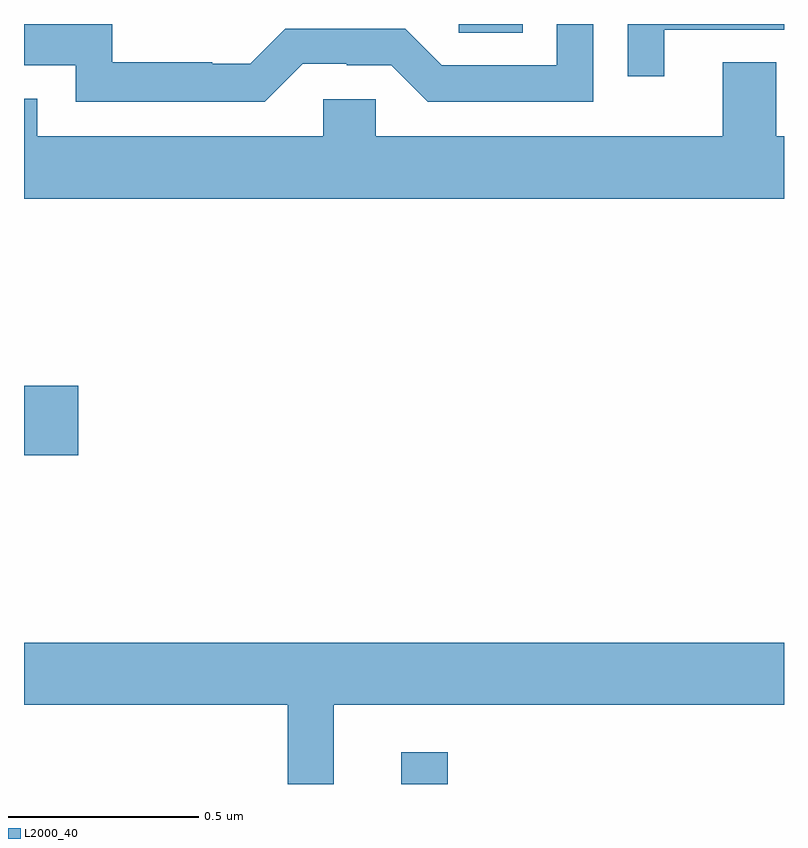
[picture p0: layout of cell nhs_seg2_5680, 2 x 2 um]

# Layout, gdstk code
import gdstk
lib = gdstk.Library(unit=1e-6, precision=1e-09)
def R(c, l, rs):  # rectangles x0, y0, x1, y1
    for r in rs: c.add(gdstk.rectangle(r[:2], r[2:], *l))
def P(c, l, *ps):  # polygons
    for p in ps: c.add(gdstk.Polygon(p, *l))
L2000_40 = (2000, 40)

nhs_seg2_5680 = lib.new_cell('nhs_seg2_5680')
R(nhs_seg2_5680, L2000_40, [(182.993,608.8,183.115,608.884), (182,609.665,182.143,609.848), (183.144,610.777,183.312,610.8)])
P(nhs_seg2_5680, L2000_40, [(182.733,610.695),(182.849,610.695),(182.849,610.692),(182.967,610.692),(183.063,610.596),(183.498,610.596),(183.498,610.8),(183.402,610.8),(183.402,610.692),(183.099,610.692),(183.003,610.788),(182.688,610.788),(182.595,610.695),(182.495,610.695),(182.495,610.699),(182.232,610.699),(182.232,610.8),(182,610.8),(182,610.692),(182.136,610.692),(182.136,610.595),(182.633,610.595)],
  [(183.685,610.785),(184,610.785),(184,610.8),(183.589,610.8),(183.589,610.662),(183.685,610.662)],
  [(184,610.504),(183.979,610.504),(183.979,610.699),(183.839,610.699),(183.839,610.504),(182.925,610.504),(182.925,610.602),(182.787,610.602),(182.787,610.504),(182.035,610.504),(182.035,610.603),(182,610.603),(182,610.34),(184,610.34)],
  [(182.815,609.008),(184,609.008),(184,609.172),(182,609.172),(182,609.008),(182.694,609.008),(182.694,608.8),(182.815,608.8)])

lib.write_gds('nhs_seg2_5680.gds')
